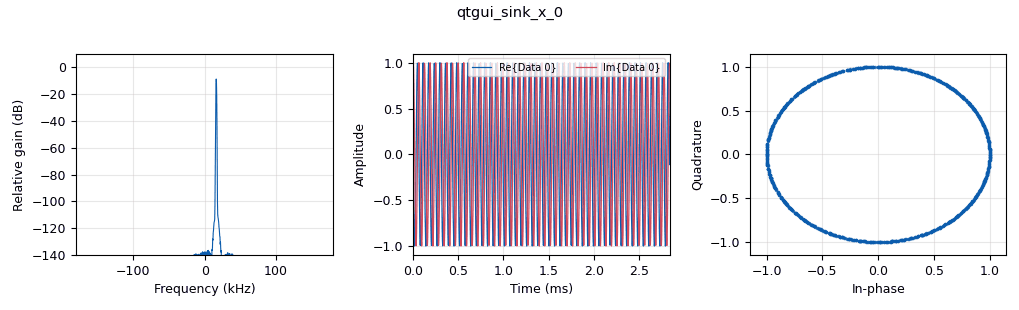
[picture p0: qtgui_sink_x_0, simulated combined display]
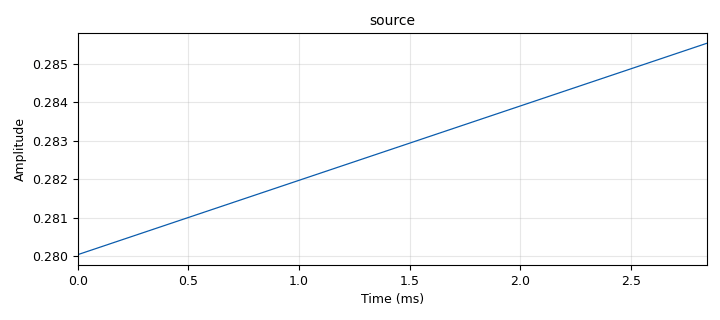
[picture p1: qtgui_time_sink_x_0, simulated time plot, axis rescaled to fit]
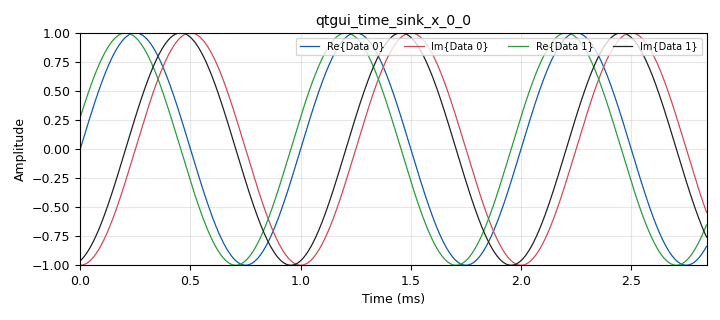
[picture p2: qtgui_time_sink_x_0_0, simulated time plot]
options:
  parameters:
    author: sneak
    generate_options: qt_gui
    id: options_0
    output_language: python
    title: basic_mods
  states: {}

blocks:
- name: samp_rate
  id: variable
  parameters:
    value: 360e3
  states: {}
- name: sensitivity
  id: variable
  parameters:
    value: '1'
  states: {}
- name: analog_frequency_modulator_fc_0
  id: analog_frequency_modulator_fc
  parameters:
    sensitivity: sensitivity
  states: {}
- name: analog_noise_source_x_0
  id: analog_noise_source_x
  parameters:
    amp: '1'
    noise_type: analog.GR_GAUSSIAN
    seed: '0'
    type: float
  states: {state: disabled}
- name: analog_phase_modulator_fc_0
  id: analog_phase_modulator_fc
  parameters:
    sensitivity: sensitivity
  states: {}
- name: analog_random_source_x_0
  id: analog_random_source_x
  parameters:
    max: '2'
    min: '0'
    num_samps: '10'
    repeat: 'True'
    type: byte
  states: {state: disabled}
- name: analog_sig_source_x_0
  id: analog_sig_source_x
  parameters:
    amp: '2'
    freq: '0.2'
    offset: '-1'
    phase: '0'
    samp_rate: samp_rate
    type: float
    waveform: analog.GR_SIN_WAVE
  states: {}
- name: analog_sig_source_x_0_0
  id: analog_sig_source_x
  parameters:
    amp: '1'
    freq: '1000'
    offset: '0'
    phase: '0'
    samp_rate: samp_rate
    type: complex
    waveform: analog.GR_COS_WAVE
  states: {}
- name: blocks_multiply_xx_0
  id: blocks_multiply_xx
  parameters:
    type: complex
  states: {}
- name: blocks_throttle_0
  id: blocks_throttle
  parameters:
    samples_per_second: samp_rate
    type: float
  states: {}
- name: mod
  id: qtgui_tab_widget
  parameters:
    label0: FM
    label1: PM
    num_tabs: '2'
  states: {}
- name: qtgui_sink_x_0
  id: qtgui_sink_x
  parameters:
    bw: samp_rate
    fc: '0'
    fftsize: '1024'
    gui_hint: mod@0
    type: complex
  states: {}
- name: qtgui_time_sink_x_0
  id: qtgui_time_sink_x
  parameters:
    ctrlpanel: 'True'
    name: source
    size: '1024'
    srate: samp_rate
    type: float
  states: {}
- name: qtgui_time_sink_x_0_0
  id: qtgui_time_sink_x
  parameters:
    ctrlpanel: 'True'
    gui_hint: mod@1
    nconnections: '2'
    size: '1024'
    srate: samp_rate
    tr_mode: qtgui.TRIG_MODE_AUTO
    type: complex
  states: {}

connections:
- [analog_frequency_modulator_fc_0, '0', qtgui_sink_x_0, '0']
- [analog_noise_source_x_0, '0', blocks_throttle_0, '0']
- [analog_phase_modulator_fc_0, '0', blocks_multiply_xx_0, '1']
- [analog_sig_source_x_0, '0', blocks_throttle_0, '0']
- [analog_sig_source_x_0_0, '0', blocks_multiply_xx_0, '0']
- [analog_sig_source_x_0_0, '0', qtgui_time_sink_x_0_0, '0']
- [blocks_multiply_xx_0, '0', qtgui_time_sink_x_0_0, '1']
- [blocks_throttle_0, '0', analog_frequency_modulator_fc_0, '0']
- [blocks_throttle_0, '0', analog_phase_modulator_fc_0, '0']
- [blocks_throttle_0, '0', qtgui_time_sink_x_0, '0']

metadata:
  file_format: 1
  grc_version: 3.10.8.0
